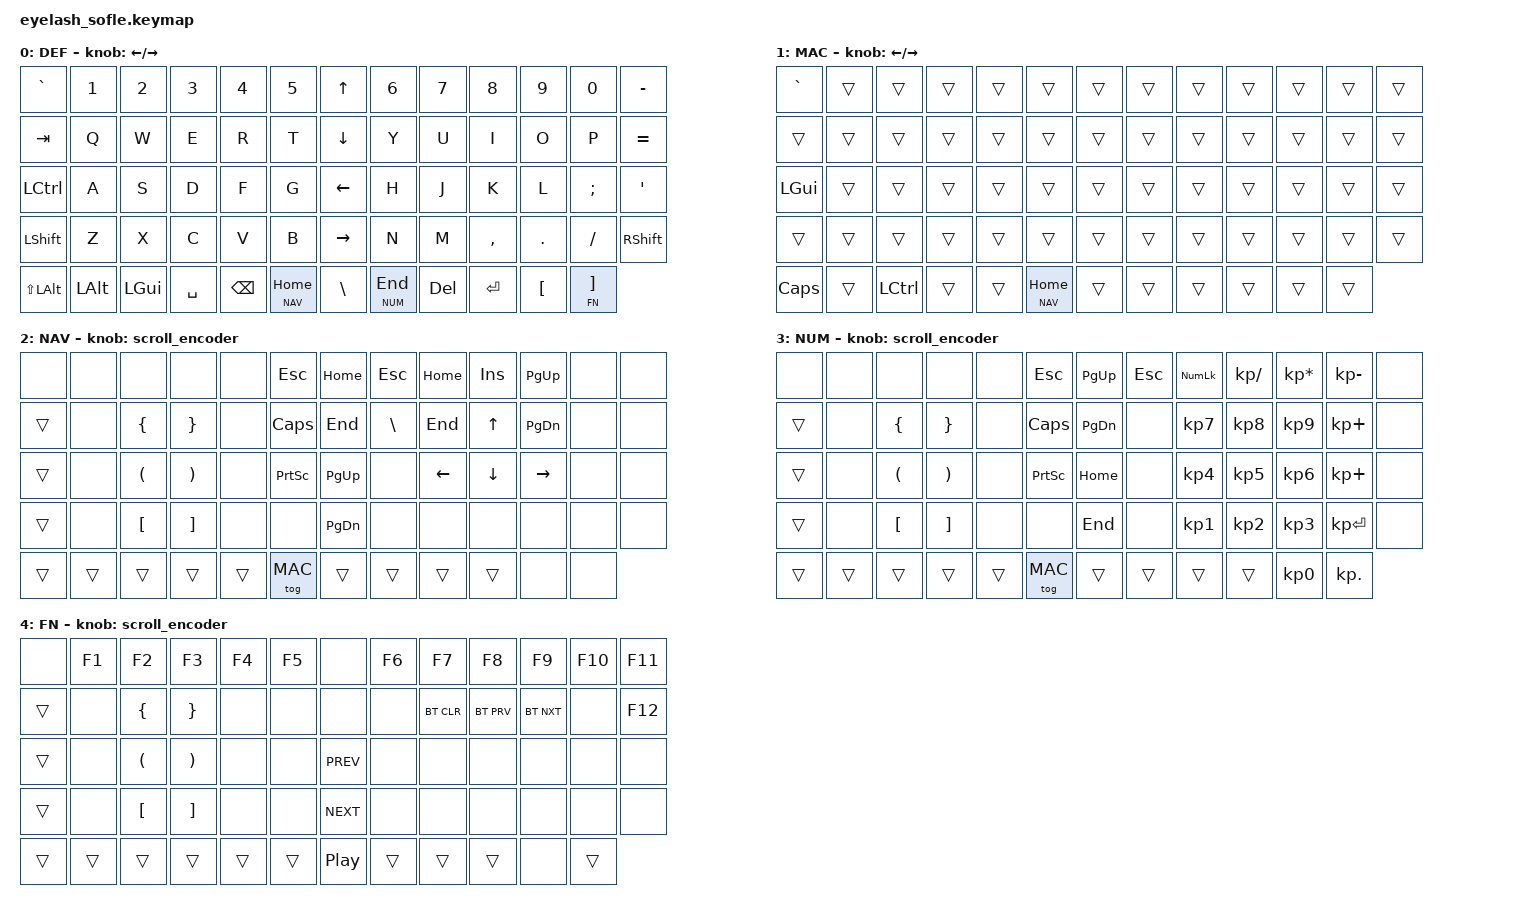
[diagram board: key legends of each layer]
#define ZMK_POINTING_DEFAULT_MOVE_VAL 1200  // 600
#define ZMK_POINTING_DEFAULT_SCRL_VAL 25   // 10

#include <input/processors.dtsi>
#include <zephyr/dt-bindings/input/input-event-codes.h>
#include <behaviors.dtsi>
#include <dt-bindings/zmk/bt.h>
#include <dt-bindings/zmk/keys.h>
#include <dt-bindings/zmk/outputs.h>
#include <dt-bindings/zmk/pointing.h>
#include <dt-bindings/zmk/rgb.h>


#define DEFAULT 0
#define MAC 1
#define NAV 2
#define NUM 3
#define FN 4

&mmv_input_listener { input-processors = <&zip_xy_scaler 2 1>; };

&msc_input_listener { input-processors = <&zip_scroll_scaler 2 1>; };

&msc {
    acceleration-exponent = <1>;      // 0
    time-to-max-speed-ms = <100>;       // 300
    delay-ms = <0>;                   // 0
};

&mmv {
    time-to-max-speed-ms = <500>;
    acceleration-exponent = <1>;
    trigger-period-ms = <16>;
};

&soft_off { hold-time-ms = <2000>; };

/ {
    scroll_encoder: scroll_encoder {
        compatible = "zmk,behavior-sensor-rotate";
        #sensor-binding-cells = <0>;
        bindings = <&msc SCRL_DOWN>, <&msc SCRL_UP>;

        tap-ms = <100>;
    };

    behaviors {
    };

    combos {
        compatible = "zmk,combos";

        softoff {
            bindings = <&soft_off>;
            key-positions = <14 28 40>;
        };

        backspace_b_default {
            bindings = <&kp LS(LALT)>;
            key-positions = <44 56>;
            layers = <0>;  // DEFAULT layer only
            timeout-ms = <50>;
        };

        backspace_b_mac {
            bindings = <&kp CAPS>;
            key-positions = <44 56>;
            layers = <1>;  // MAC layer only
            timeout-ms = <50>;
        };
    };

    keymap {
        compatible = "zmk,keymap";

        default_layer {
            bindings = <
&kp GRAVE     &kp N1        &kp N2        &kp N3     &kp N4         &kp N5           &kp UP_ARROW     &kp N6       &kp N7     &kp N8     &kp N9        &kp N0      &kp MINUS
&kp TAB       &kp Q         &kp W         &kp E      &kp R          &kp T            &kp DOWN_ARROW   &kp Y        &kp U      &kp I      &kp O         &kp P       &kp EQUAL
&kp LCTRL     &kp A         &kp S         &kp D      &kp F          &kp G            &kp LEFT_ARROW   &kp H        &kp J      &kp K      &kp L         &kp SEMI    &kp SQT
&kp LSHFT     &kp Z         &kp X         &kp C      &kp V          &kp B            &kp RIGHT_ARROW  &kp N        &kp M      &kp COMMA  &kp DOT       &kp FSLH    &kp RSHIFT
&kp LS(LALT)  &kp LEFT_ALT  &kp LEFT_GUI  &kp SPACE  &kp BACKSPACE  &lt NAV HOME       &kp BSLH         &lt NUM END  &kp DEL    &kp ENTER  &kp LBKT      &lt FN RBKT            
            >;

            sensor-bindings = <&inc_dec_kp LEFT RIGHT>;
            display-name = "DEF";
        };

        mac_layer {
            bindings = <
&kp GRAVE  &trans  &trans     &trans  &trans  &trans       &trans  &trans  &trans  &trans  &trans  &trans  &trans
&trans     &trans  &trans     &trans  &trans  &trans       &trans  &trans  &trans  &trans  &trans  &trans  &trans
&kp LGUI   &trans  &trans     &trans  &trans  &trans       &trans  &trans  &trans  &trans  &trans  &trans  &trans
&trans     &trans  &trans     &trans  &trans  &trans       &trans  &trans  &trans  &trans  &trans  &trans  &trans
&kp CAPS   &trans  &kp LCTRL  &trans  &trans  &lt NAV HOME       &trans  &trans  &trans  &trans  &trans  &trans 
            >;

            display-name = "MAC";
            sensor-bindings = <&inc_dec_kp LEFT RIGHT>;
        };

        
        nav_layer {
            bindings = <
&none   &none   &none   &none   &none   &kp ESC          &kp HOME   &kp ESC   &kp HOME &kp INS  &kp PG_UP  &none  &none
&trans  &none   &kp LBRC  &kp RBRC   &none   &kp CAPS       &kp END    &kp BSLH   &kp END  &kp UP   &kp PG_DN  &none   &none
&trans  &none   &kp LPAR  &kp RPAR   &none   &kp PSCRN      &kp PG_UP  &none   &kp LEFT &kp DOWN &kp RIGHT  &none   &none
&trans  &none   &kp LBKT  &kp RBKT   &none   &none          &kp PG_DN  &none   &none    &none    &none      &none  &none
&trans  &trans  &trans  &trans  &trans  &tog MAC       &trans     &trans  &trans     &trans    &none      &none   
         >;

            sensor-bindings = <&scroll_encoder>;
            display-name = "NAV";
        };

        num_layer {
            bindings = <
&none   &none   &none   &none   &none   &kp ESC          &kp PG_UP  &kp ESC   &kp KP_NUM  &kp KP_SLASH  &kp KP_ASTERISK  &kp KP_MINUS  &none
&trans  &none   &kp LBRC  &kp RBRC   &none   &kp CAPS       &kp PG_DN  &none   &kp KP_N7   &kp KP_N8     &kp KP_N9        &kp KP_PLUS   &none
&trans  &none   &kp LPAR  &kp RPAR   &none   &kp PSCRN      &kp HOME   &none   &kp KP_N4   &kp KP_N5     &kp KP_N6        &kp KP_PLUS   &none
&trans  &none   &kp LBKT  &kp RBKT   &none   &none          &kp END    &none   &kp KP_N1   &kp KP_N2     &kp KP_N3        &kp KP_ENTER  &none
&trans  &trans  &trans  &trans  &trans  &tog MAC       &trans     &trans  &trans    &trans       &kp KP_N0       &kp KP_DOT   
         >;

            sensor-bindings = <&scroll_encoder>;
            display-name = "NUM";
        };

        fn_layer {
            bindings = <
&none   &kp F1  &kp F2    &kp F3    &kp F4  &kp F5       &none       &kp F6  &kp F7      &kp F8      &kp F9      &kp F10  &kp F11
&trans  &none   &kp LBRC  &kp RBRC  &none   &none        &none       &none   &bt BT_CLR  &bt BT_PRV  &bt BT_NXT  &none    &kp F12
&trans  &none   &kp LPAR  &kp RPAR  &none   &none        &kp C_PREV  &none   &none       &none       &none       &none    &none
&trans  &none   &kp LBKT  &kp RBKT  &none   &none        &kp C_NEXT  &none   &none       &none       &none       &none    &none
&trans  &trans  &trans    &trans    &trans  &trans       &kp C_PP    &trans  &trans      &trans      &none      &trans            
            >;

            sensor-bindings = <&scroll_encoder>;
            display-name = "FN";
        };
    };
};
